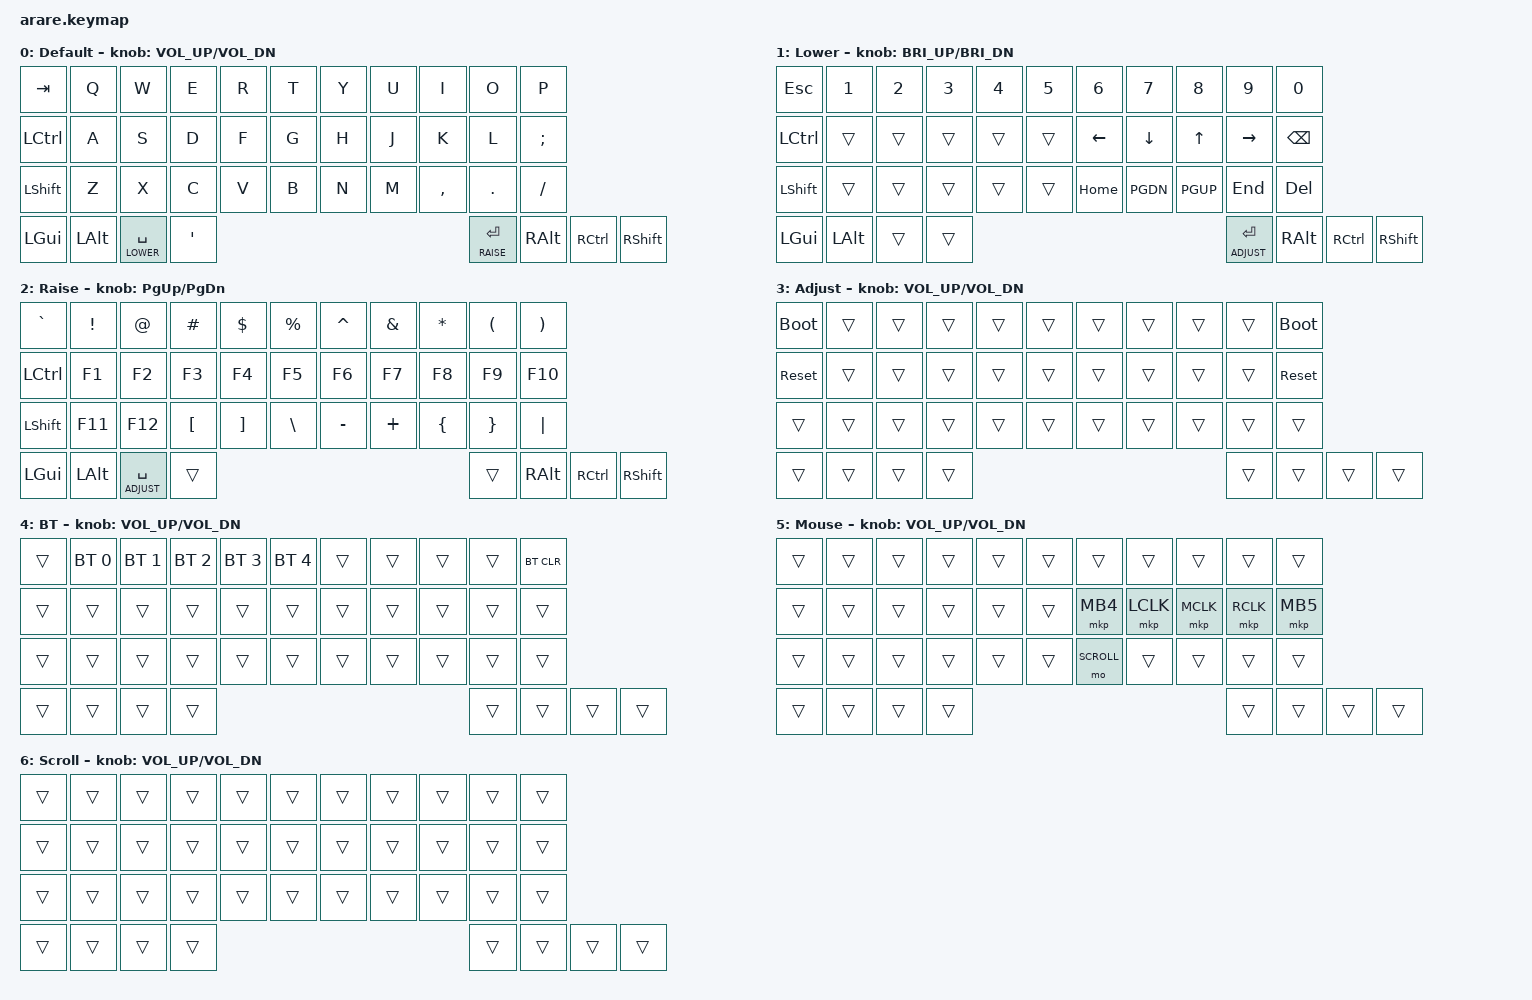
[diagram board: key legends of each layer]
#include <behaviors.dtsi>
#include <dt-bindings/zmk/keys.h>
#include <dt-bindings/zmk/bt.h>
#include <dt-bindings/zmk/mouse.h>

#define DEFAULT 0
#define LOWER   1
#define RAISE   2
#define ADJUST  3
#define BT_SEL  4
#define MOUSE   5
#define SCROLL  6

/ {
    keymap {
        compatible = "zmk,keymap";

        /* Layer 0 - Default (QWERTY)
         * ,----------------------------------.    ,----------------------------------.
         * | TAB  | Q  | W  | E  | R  | T  |    | Y  | U  | I  | O  | P  |
         * | LCTL | A  | S  | D  | F  | G  |    | H  | J  | K  | L  | ;  |
         * | LSFT | Z  | X  | C  | V  | B  |    | N  | M  | ,  | .  | /  |
         * | LGUI |LALT|SPC |              | '  |ENT |RALT|RCTL|RSFT|
         * `----------------------------------'    `----------------------------------'
         */
        default_layer {
            display-name = "Default";
            bindings = <
                &kp TAB   &kp Q &kp W &kp E &kp R &kp T    &kp Y &kp U &kp I     &kp O   &kp P
                &kp LCTRL &kp A &kp S &kp D &kp F &kp G    &kp H &kp J &kp K     &kp L   &kp SEMI
                &kp LSHFT &kp Z &kp X &kp C &kp V &kp B    &kp N &kp M &kp COMMA &kp DOT &kp FSLH
                &kp LGUI  &kp LALT &lt LOWER SPC            &kp SQT &lt RAISE RET &kp RALT &kp RCTRL &kp RSHFT
            >;
            sensor-bindings = <&inc_dec_kp C_VOL_UP C_VOL_DN>;
        };

        /* Layer 1 - Lower (Numbers & Symbols)
         */
        lower_layer {
            display-name = "Lower";
            bindings = <
                &kp ESC   &kp N1 &kp N2 &kp N3 &kp N4 &kp N5    &kp N6   &kp N7   &kp N8   &kp N9  &kp N0
                &kp LCTRL &trans &trans &trans &trans &trans       &kp LEFT &kp DOWN &kp UP   &kp RIGHT &kp BSPC
                &kp LSHFT &trans &trans &trans &trans &trans       &kp HOME &kp PGDN &kp PGUP &kp END &kp DEL
                &kp LGUI  &kp LALT &trans                         &trans &lt ADJUST RET &kp RALT &kp RCTRL &kp RSHFT
            >;
            sensor-bindings = <&inc_dec_kp C_BRI_UP C_BRI_DN>;
        };

        /* Layer 2 - Raise (Symbols & Function keys)
         */
        raise_layer {
            display-name = "Raise";
            bindings = <
                &kp GRAVE &kp EXCL &kp AT &kp HASH &kp DLLR &kp PRCNT    &kp CARET &kp AMPS &kp STAR &kp LPAR &kp RPAR
                &kp LCTRL &kp F1   &kp F2 &kp F3   &kp F4   &kp F5       &kp F6    &kp F7   &kp F8   &kp F9   &kp F10
                &kp LSHFT &kp F11  &kp F12 &kp LBKT &kp RBKT &kp BSLH    &kp MINUS &kp PLUS &kp LBRC &kp RBRC &kp PIPE
                &kp LGUI  &kp LALT &lt ADJUST SPC                         &trans &trans &kp RALT &kp RCTRL &kp RSHFT
            >;
            sensor-bindings = <&inc_dec_kp PG_UP PG_DN>;
        };

        /* Layer 3 - Adjust
         */
        adjust_layer {
            display-name = "Adjust";
            bindings = <
                &bootloader &trans &trans &trans &trans &trans    &trans &trans &trans &trans &bootloader
                &sys_reset  &trans &trans &trans &trans &trans    &trans &trans &trans &trans &sys_reset
                &trans      &trans &trans &trans &trans &trans    &trans &trans &trans &trans &trans
                &trans      &trans &trans                         &trans &trans &trans &trans &trans
            >;
            sensor-bindings = <&inc_dec_kp C_VOL_UP C_VOL_DN>;
        };

        /* Layer 4 - BT Select
         */
        bt_layer {
            display-name = "BT";
            bindings = <
                &trans &bt BT_SEL 0 &bt BT_SEL 1 &bt BT_SEL 2 &bt BT_SEL 3 &bt BT_SEL 4    &trans &trans &trans &trans &bt BT_CLR
                &trans &trans       &trans        &trans        &trans        &trans           &trans &trans &trans &trans &trans
                &trans &trans       &trans        &trans        &trans        &trans           &trans &trans &trans &trans &trans
                &trans &trans       &trans                                                     &trans &trans &trans &trans &trans
            >;
            sensor-bindings = <&inc_dec_kp C_VOL_UP C_VOL_DN>;
        };

        /* Layer 5 - Mouse (activated by trackball movement via automouse-layer)
         */
        mouse_layer {
            display-name = "Mouse";
            bindings = <
                &trans &trans &trans &trans &trans &trans    &trans    &trans    &trans    &trans    &trans
                &trans &trans &trans &trans &trans &trans    &mkp MB4  &mkp LCLK &mkp MCLK &mkp RCLK &mkp MB5
                &trans &trans &trans &trans &trans &trans    &mo SCROLL &trans   &trans    &trans    &trans
                &trans &trans &trans                         &trans &trans &trans &trans &trans
            >;
            sensor-bindings = <&inc_dec_kp C_VOL_UP C_VOL_DN>;
        };

        /* Layer 6 - Scroll (trackball acts as scroll wheel)
         */
        scroll_layer {
            display-name = "Scroll";
            bindings = <
                &trans &trans &trans &trans &trans &trans    &trans &trans &trans &trans &trans
                &trans &trans &trans &trans &trans &trans    &trans &trans &trans &trans &trans
                &trans &trans &trans &trans &trans &trans    &trans &trans &trans &trans &trans
                &trans &trans &trans                         &trans &trans &trans &trans &trans
            >;
            sensor-bindings = <&inc_dec_kp C_VOL_UP C_VOL_DN>;
        };
    };
};
